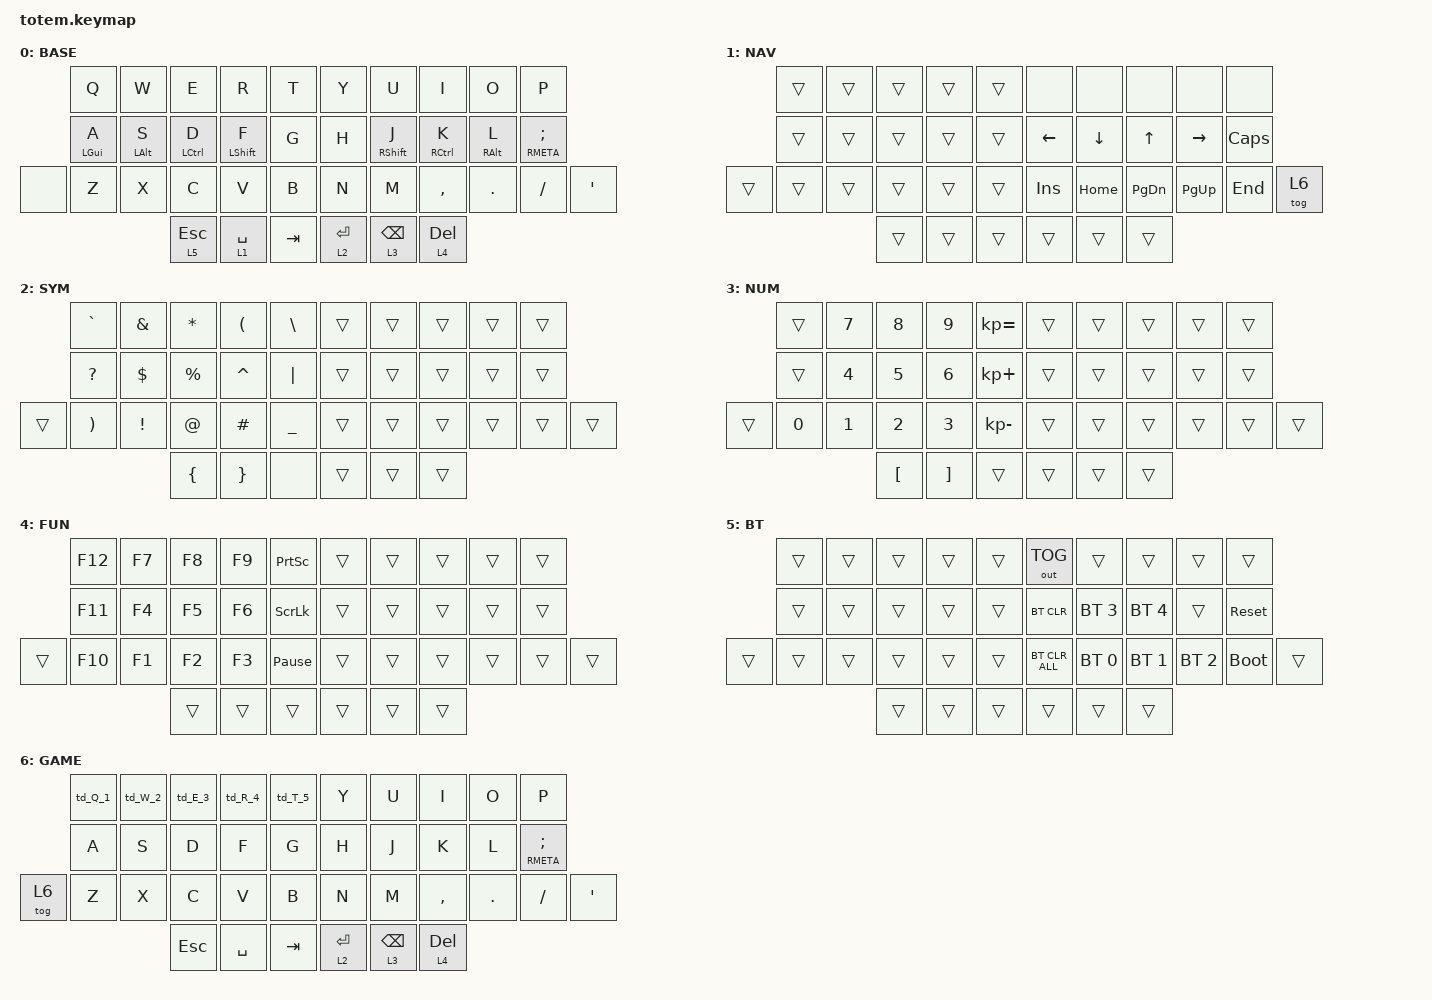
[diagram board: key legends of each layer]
//
//                                                        ▀▀▀▀▀     ▀▀▀▀▀          ▀▀█▀▀
//                                                        ▄▀▀▀▄  ▄  ▄▀▀▀▄  ▄  ▄▀▀▀▄  █  ▄▀▀▀▄
//                                                        █   █  █  █   █  █  █   █  █  █   █
//                                                         ▀▀▀   █   ▀▀▀   █   ▀▀▀   ▀   ▀▀▀
//                                                               █      ▄▄▄█▄▄▄    █   █  
//                                                               ▀      █  █  █     █▄█
//                                                             ▀▀▀▀▀    █  █  █      ▀
//                                                                      ▀  ▀  ▀
//
// ▄▄▄▄▄▄▄▄▄▄▄▄▄▄▄▄▄▄▄▄▄▄▄▄▄▄▄▄▄▄▄▄▄▄▄▄▄▄▄▄▄▄▄▄▄▄▄▄▄▄▄▄▄▄▄▄▄▄▄▄▄▄▄▄▄▄▄▄▄▄▄▄▄▄▄▄▄▄▄▄▄▄▄▄▄▄▄▄▄▄▄▄▄▄▄▄▄▄▄▄▄▄▄▄▄▄▄▄▄▄▄▄▄▄▄▄▄▄▄▄▄▄▄▄▄▄▄▄▄▄▄▄▄▄▄▄▄▄▄▄▄▄▄▄▄▄▄▄▄

#include <behaviors.dtsi>
#include <dt-bindings/zmk/bt.h>
#include <dt-bindings/zmk/keys.h>
#include <dt-bindings/zmk/outputs.h>

#define BASE 0
#define NAV  1
#define SYM  2
#define ADJ  3

&mt {
    quick-tap-ms = <100>;
    global-quick-tap;
    flavor = "tap-preferred";
    tapping-term-ms = <220>;
};

/ {
    combos { compatible = "zmk,combos"; };

    behaviors {
        td_Q_1: td_Q_1 {
            compatible = "zmk,behavior-tap-dance";
            label = "TD_Q_1";
            #binding-cells = <0>;
            bindings = <&kp Q>, <&kp NUMBER_1>;
        };

        td_W_2: td_W_2 {
            compatible = "zmk,behavior-tap-dance";
            label = "TD_W_2";
            #binding-cells = <0>;
            bindings = <&kp W>, <&kp NUMBER_2>;
        };

        td_E_3: td_E_3 {
            compatible = "zmk,behavior-tap-dance";
            label = "TD_E_3";
            #binding-cells = <0>;
            bindings = <&kp E>, <&kp NUMBER_3>;
        };

        td_R_4: td_R_4 {
            compatible = "zmk,behavior-tap-dance";
            label = "TD_R_4";
            #binding-cells = <0>;
            bindings = <&kp R>, <&kp NUMBER_4>;
        };

        td_T_5: td_T_5 {
            compatible = "zmk,behavior-tap-dance";
            label = "TD_T_5";
            #binding-cells = <0>;
            bindings = <&kp T>, <&kp NUMBER_5>;
        };
    };

    keymap {
        compatible = "zmk,keymap";

        // ▄▄▄▄▄▄▄▄▄▄▄▄▄▄▄▄▄▄▄▄▄▄▄▄▄▄▄▄▄▄▄▄▄▄▄▄▄▄▄▄▄▄▄▄▄▄▄▄▄▄▄▄▄▄▄▄▄▄▄▄▄▄▄▄▄▄▄▄▄▄▄▄▄▄▄▄▄▄▄▄▄▄▄▄▄▄▄▄▄▄▄▄▄▄▄▄▄▄▄▄▄▄▄▄▄▄▄▄▄▄▄▄▄▄▄▄▄▄▄▄▄▄▄▄▄▄▄▄▄▄▄▄▄▄▄▄▄▄▄▄▄▄▄▄▄▄▄▄▄

        base_layer {
            // ┏━━━━━━━━━━━━━━━━━━━━━━━━━━━━━━━━━━━━━━━┓

            label = "BASE";

            // ┗━━━━━━━━━━━━━━━━━━━━━━━━━━━━━━━━━━━━━━━┛
            //             ┏━━━━━━━━━━━┳━━━━━━━━━━━┳━━━━━━━━━━━┳━━━━━━━━━━━┳━━━━━━━━━━━┓   ┏━━━━━━━━━━━┳━━━━━━━━━━━┳━━━━━━━━━━━┳━━━━━━━━━━━┳━━━━━━━━━━━┓
            //             ┃     Q     ┃     W     ┃     F     ┃     P     ┃     G     ┃   ┃     J     ┃     L     ┃     U     ┃     Y     ┃     ;     ┃
            //             ┣━━━━━━━━━━━╋━━━━━━━━━━━╋━━━━━━━━━━━╋━━━━━━━━━━━╋━━━━━━━━━━━┫   ┣━━━━━━━━━━━╋━━━━━━━━━━━╋━━━━━━━━━━━╋━━━━━━━━━━━╋━━━━━━━━━━━┫
            //             ┃     A     ┃     R     ┃     S     ┃     T     ┃     D     ┃   ┃     H     ┃     N     ┃     E     ┃     I     ┃     O     ┃
            // ┏━━━━━━━━━━━╋━━━━━━━━━━━╋━━━━━━━━━━━╋━━━━━━━━━━━╋━━━━━━━━━━━╋━━━━━━━━━━━┫   ┣━━━━━━━━━━━╋━━━━━━━━━━━╋━━━━━━━━━━━╋━━━━━━━━━━━╋━━━━━━━━━━━╋━━━━━━━━━━━┓
            // ┃           ┃     Z     ┃     X     ┃     C     ┃     V     ┃     B     ┃   ┃     K     ┃     M     ┃     ,     ┃     .     ┃     /     ┃           ┃
            // ┗━━━━━━━━━━━┻━━━━━━━━━━━┻━━━━━━━━━━━╋━━━━━━━━━━━╋━━━━━━━━━━━╋━━━━━━━━━━━┫   ┣━━━━━━━━━━━╋━━━━━━━━━━━╋━━━━━━━━━━━╋━━━━━━━━━━━┻━━━━━━━━━━━┻━━━━━━━━━━━┛
            //                                     ┃           ┃    TAB    ┃    SPC    ┃   ┃   ENTER   ┃   BSPC    ┃           ┃
            //                                     ┗━━━━━━━━━━━┻━━━━━━━━━━━┻━━━━━━━━━━━┛   ┗━━━━━━━━━━━┻━━━━━━━━━━━┻━━━━━━━━━━━┛

            bindings = <
       &kp Q           &kp W       &kp E         &kp R        &kp T      &kp Y      &kp U            &kp I         &kp O       &kp P
       &mt LEFT_GUI A  &mt LALT S  &mt LCTRL D   &mt LSHFT F  &kp G      &kp H      &mt RSHFT J      &mt RCTRL K   &mt RALT L  &mt RMETA SEMI
&none  &kp Z           &kp X       &kp C         &kp V        &kp B      &kp N      &kp M            &kp COMMA     &kp DOT     &kp SLASH       &kp APOS
                                   &lt 5 ESCAPE  &lt 1 SPACE  &kp TAB    &lt 2 RET  &lt 3 BACKSPACE  &lt 4 DELETE
            >;
        };

        nav_layer {
            // ┏━━━━━━━━━━━━━━━━━━━━━━━━━━━━━━━━━━━━━━━┓

            label = "NAV";

            // ┗━━━━━━━━━━━━━━━━━━━━━━━━━━━━━━━━━━━━━━━┛
            //             ┏━━━━━━━━━━━┳━━━━━━━━━━━┳━━━━━━━━━━━┳━━━━━━━━━━━┳━━━━━━━━━━━┓   ┏━━━━━━━━━━━┳━━━━━━━━━━━┳━━━━━━━━━━━┳━━━━━━━━━━━┳━━━━━━━━━━━┓
            //             ┃           ┃           ┃     UP    ┃           ┃     {     ┃   ┃     }     ┃     7     ┃     8     ┃     9     ┃     +     ┃
            //             ┣━━━━━━━━━━━╋━━━━━━━━━━━╋━━━━━━━━━━━╋━━━━━━━━━━━╋━━━━━━━━━━━┫   ┣━━━━━━━━━━━╋━━━━━━━━━━━╋━━━━━━━━━━━╋━━━━━━━━━━━╋━━━━━━━━━━━┫
            //             ┃   SHIFT   ┃   LEFT    ┃    DOWN   ┃   RIGHT   ┃     [     ┃   ┃     ]     ┃     4     ┃     5     ┃     6     ┃     -     ┃
            // ┏━━━━━━━━━━━╋━━━━━━━━━━━╋━━━━━━━━━━━╋━━━━━━━━━━━╋━━━━━━━━━━━╋━━━━━━━━━━━┫   ┣━━━━━━━━━━━╋━━━━━━━━━━━╋━━━━━━━━━━━╋━━━━━━━━━━━╋━━━━━━━━━━━╋━━━━━━━━━━━┓
            // ┃           ┃           ┃   P UP    ┃  C LOCK   ┃  P DOWN   ┃     (     ┃   ┃     )     ┃     1     ┃     2     ┃     3     ┃     *     ┃           ┃
            // ┗━━━━━━━━━━━┻━━━━━━━━━━━┻━━━━━━━━━━━╋━━━━━━━━━━━╋━━━━━━━━━━━╋━━━━━━━━━━━┫   ┣━━━━━━━━━━━╋━━━━━━━━━━━╋━━━━━━━━━━━╋━━━━━━━━━━━┻━━━━━━━━━━━┻━━━━━━━━━━━┛
            //                                     ┃           ┃    TAB    ┃    SPC    ┃   ┃    DEL    ┃     0     ┃           ┃
            //                                     ┗━━━━━━━━━━━┻━━━━━━━━━━━┻━━━━━━━━━━━┛   ┗━━━━━━━━━━━┻━━━━━━━━━━━┻━━━━━━━━━━━┛

            bindings = <
        &trans  &trans  &trans  &trans  &trans    &none       &none     &none          &none        &none
        &trans  &trans  &trans  &trans  &trans    &kp LEFT    &kp DOWN  &kp UP_ARROW   &kp RIGHT    &kp CAPS
&trans  &trans  &trans  &trans  &trans  &trans    &kp INSERT  &kp HOME  &kp PAGE_DOWN  &kp PAGE_UP  &kp END   &tog 6
                        &trans  &trans  &trans    &trans      &trans    &trans
            >;
        };

        sym_layer {
            // ┏━━━━━━━━━━━━━━━━━━━━━━━━━━━━━━━━━━━━━━━┓

            label = "SYM";

            // ┗━━━━━━━━━━━━━━━━━━━━━━━━━━━━━━━━━━━━━━━┛
            //             ┏━━━━━━━━━━━┳━━━━━━━━━━━┳━━━━━━━━━━━┳━━━━━━━━━━━┳━━━━━━━━━━━┓   ┏━━━━━━━━━━━┳━━━━━━━━━━━┳━━━━━━━━━━━┳━━━━━━━━━━━┳━━━━━━━━━━━┓
            //             ┃     !     ┃     @     ┃     #     ┃     $     ┃     %     ┃   ┃     ˆ     ┃     &     ┃     Ü     ┃     '     ┃     "     ┃
            //             ┣━━━━━━━━━━━╋━━━━━━━━━━━╋━━━━━━━━━━━╋━━━━━━━━━━━╋━━━━━━━━━━━┫   ┣━━━━━━━━━━━╋━━━━━━━━━━━╋━━━━━━━━━━━╋━━━━━━━━━━━╋━━━━━━━━━━━┫
            //             ┃     Ä     ┃           ┃    SZ     ┃           ┃           ┃   ┃   MUTE    ┃   YEN     ┃   EURO    ┃  POUND    ┃     Ö     ┃
            // ┏━━━━━━━━━━━╋━━━━━━━━━━━╋━━━━━━━━━━━╋━━━━━━━━━━━╋━━━━━━━━━━━╋━━━━━━━━━━━┫   ┣━━━━━━━━━━━╋━━━━━━━━━━━╋━━━━━━━━━━━╋━━━━━━━━━━━╋━━━━━━━━━━━╋━━━━━━━━━━━┓
            // ┃           ┃  EMAIL1   ┃  EMAIL2   ┃           ┃           ┃           ┃   ┃   VOL-    ┃   VOL+    ┃   LAST    ┃   NEXT    ┃     \     ┃           ┃
            // ┗━━━━━━━━━━━┻━━━━━━━━━━━┻━━━━━━━━━━━╋━━━━━━━━━━━╋━━━━━━━━━━━╋━━━━━━━━━━━┫   ┣━━━━━━━━━━━╋━━━━━━━━━━━╋━━━━━━━━━━━╋━━━━━━━━━━━┻━━━━━━━━━━━┻━━━━━━━━━━━┛
            //                                     ┃           ┃    GIF    ┃    ADJ    ┃   ┃           ┃           ┃           ┃
            //                                     ┗━━━━━━━━━━━┻━━━━━━━━━━━┻━━━━━━━━━━━┛   ┗━━━━━━━━━━━┻━━━━━━━━━━━┻━━━━━━━━━━━┛

            bindings = <
        &kp GRAVE              &kp AMPERSAND  &kp ASTERISK    &kp LEFT_PARENTHESIS  &kp BACKSLASH     &trans  &trans  &trans  &trans  &trans
        &kp QUESTION           &kp DOLLAR     &kp PERCENT     &kp CARET             &kp PIPE          &trans  &trans  &trans  &trans  &trans
&trans  &kp RIGHT_PARENTHESIS  &kp EXCL       &kp AT          &kp HASH              &kp UNDERSCORE    &trans  &trans  &trans  &trans  &trans  &trans
                                              &kp LEFT_BRACE  &kp RIGHT_BRACE       &none             &trans  &trans  &trans
            >;
        };

        num_layer {
            bindings = <
        &trans  &kp N7  &kp N8            &kp N9             &kp KP_EQUAL    &trans  &trans  &trans  &trans  &trans
        &trans  &kp N4  &kp N5            &kp N6             &kp KP_PLUS     &trans  &trans  &trans  &trans  &trans
&trans  &kp N0  &kp N1  &kp N2            &kp N3             &kp KP_MINUS    &trans  &trans  &trans  &trans  &trans  &trans
                        &kp LEFT_BRACKET  &kp RIGHT_BRACKET  &trans          &trans  &trans  &trans
            >;

            label = "NUM";
        };

        fun_layer {
            bindings = <
        &kp F12  &kp F7  &kp F8  &kp F9  &kp PRINTSCREEN    &trans  &trans  &trans  &trans  &trans
        &kp F11  &kp F4  &kp F5  &kp F6  &kp SCROLLLOCK     &trans  &trans  &trans  &trans  &trans
&trans  &kp F10  &kp F1  &kp F2  &kp F3  &kp PAUSE_BREAK    &trans  &trans  &trans  &trans  &trans  &trans
                         &trans  &trans  &trans             &trans  &trans  &trans
            >;

            label = "FUN";
        };

        bt_layer {
            // ┏━━━━━━━━━━━━━━━━━━━━━━━━━━━━━━━━━━━━━━━┓

            label = "BT";

            // ┗━━━━━━━━━━━━━━━━━━━━━━━━━━━━━━━━━━━━━━━┛
            //             ┏━━━━━━━━━━━┳━━━━━━━━━━━┳━━━━━━━━━━━┳━━━━━━━━━━━┳━━━━━━━━━━━┓   ┏━━━━━━━━━━━┳━━━━━━━━━━━┳━━━━━━━━━━━┳━━━━━━━━━━━┳━━━━━━━━━━━┓
            //             ┃   RESET   ┃ BT CLEAR  ┃  OUT TOG  ┃           ┃           ┃   ┃           ┃    F7     ┃    F8     ┃    F9     ┃    F12    ┃
            //             ┣━━━━━━━━━━━╋━━━━━━━━━━━╋━━━━━━━━━━━╋━━━━━━━━━━━╋━━━━━━━━━━━┫   ┣━━━━━━━━━━━╋━━━━━━━━━━━╋━━━━━━━━━━━╋━━━━━━━━━━━╋━━━━━━━━━━━┫
            //             ┃ BOOTLOAD  ┃ BT NEXT   ┃           ┃           ┃           ┃   ┃           ┃    F4     ┃    F5     ┃    F6     ┃    F11    ┃
            // ┏━━━━━━━━━━━╋━━━━━━━━━━━╋━━━━━━━━━━━╋━━━━━━━━━━━╋━━━━━━━━━━━╋━━━━━━━━━━━┫   ┣━━━━━━━━━━━╋━━━━━━━━━━━╋━━━━━━━━━━━╋━━━━━━━━━━━╋━━━━━━━━━━━╋━━━━━━━━━━━┓
            // ┃           ┃           ┃ BT PREV   ┃           ┃           ┃           ┃   ┃           ┃    F1     ┃    F2     ┃    F3     ┃    F10    ┃           ┃
            // ┗━━━━━━━━━━━┻━━━━━━━━━━━┻━━━━━━━━━━━╋━━━━━━━━━━━╋━━━━━━━━━━━╋━━━━━━━━━━━┫   ┣━━━━━━━━━━━╋━━━━━━━━━━━╋━━━━━━━━━━━╋━━━━━━━━━━━┻━━━━━━━━━━━┻━━━━━━━━━━━┛
            //                                     ┃           ┃           ┃           ┃   ┃           ┃           ┃           ┃
            //                                     ┗━━━━━━━━━━━┻━━━━━━━━━━━┻━━━━━━━━━━━┛   ┗━━━━━━━━━━━┻━━━━━━━━━━━┻━━━━━━━━━━━┛

            bindings = <
        &trans  &trans  &trans  &trans  &trans    &out OUT_TOG    &trans        &trans        &trans        &trans
        &trans  &trans  &trans  &trans  &trans    &bt BT_CLR      &bt BT_SEL 3  &bt BT_SEL 4  &trans        &sys_reset
&trans  &trans  &trans  &trans  &trans  &trans    &bt BT_CLR_ALL  &bt BT_SEL 0  &bt BT_SEL 1  &bt BT_SEL 2  &bootloader  &trans
                        &trans  &trans  &trans    &trans          &trans        &trans
            >;
        };

        game {
            label = "GAME";
            bindings = <
        &td_Q_1  &td_W_2  &td_E_3     &td_R_4    &td_T_5    &kp Y      &kp U            &kp I         &kp O    &kp P
        &kp A    &kp S    &kp D       &kp F      &kp G      &kp H      &kp J            &kp K         &kp L    &mt RMETA SEMI
&tog 6  &kp Z    &kp X    &kp C       &kp V      &kp B      &kp N      &kp M            &kp COMMA     &kp DOT  &kp SLASH       &kp APOS
                          &kp ESCAPE  &kp SPACE  &kp TAB    &lt 2 RET  &lt 3 BACKSPACE  &lt 4 DELETE
            >;
        };
    };
};
